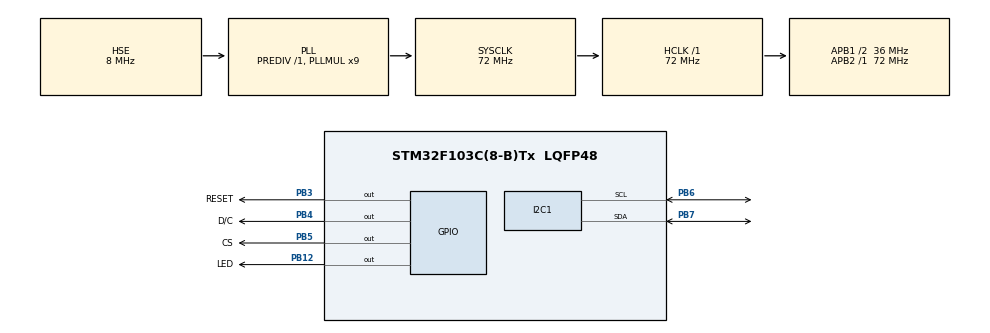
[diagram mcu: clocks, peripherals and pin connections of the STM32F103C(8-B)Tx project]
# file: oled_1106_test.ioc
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Mcu.Family=STM32F1
RCC.PLLSourceVirtual=RCC_PLLSOURCE_HSE
PD1-OSC_OUT.Mode=HSE-External-Oscillator
PD0-OSC_IN.Signal=RCC_OSC_IN
RCC.APB1CLKDivider=RCC_HCLK_DIV2
RCC.SYSCLKSource=RCC_SYSCLKSOURCE_PLLCLK
ProjectManager.StackSize=0x400
PD1-OSC_OUT.Signal=RCC_OSC_OUT
PA13.Signal=SYS_JTMS-SWDIO
ProjectManager.TargetToolchain=STM32CubeIDE
RCC.HCLKFreq_Value=72000000
RCC.APB2TimFreq_Value=72000000
PB6.Signal=I2C1_SCL
PB6.Mode=I2C
RCC.USBFreq_Value=72000000
RCC.AHBFreq_Value=72000000
PD0-OSC_IN.Mode=HSE-External-Oscillator
board=custom
RCC.PLLMUL=RCC_PLL_MUL9
PB12.GPIO_Label=LED
RCC.APB2Freq_Value=72000000
PB4.GPIO_Label=D/C
PA14.Mode=Serial_Wire
PB7.Signal=I2C1_SDA
PA13.Mode=Serial_Wire
Mcu.Name=STM32F103C(8-B)Tx
PB3.Signal=GPIO_Output
RCC.SYSCLKFreq_VALUE=72000000
Mcu.Package=LQFP48
PB5.Signal=GPIO_Output
PB7.Mode=I2C
PA14.Signal=SYS_JTCK-SWCLK
ProjectManager.HeapSize=0x200
NVIC.PriorityGroup=NVIC_PRIORITYGROUP_4
PB5.GPIO_Label=CS
RCC.APB1TimFreq_Value=72000000
RCC.APB1Freq_Value=36000000
PB12.Signal=GPIO_Output
PB4.Signal=GPIO_Output
PB3.GPIO_Label=RESET

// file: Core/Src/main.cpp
/* USER CODE BEGIN Header */
/**
  ******************************************************************************
  * @file           : main.c
  * @brief          : Main program body
  ******************************************************************************
  * @attention
  *
  * <h2><center>&copy; Copyright (c) 2021 STMicroelectronics.
  * All rights reserved.</center></h2>
  *
  * This software component is licensed by ST under BSD 3-Clause license,
  * the "License"; You may not use this file except in compliance with the
  * License. You may obtain a copy of the License at:
  *                        opensource.org/licenses/BSD-3-Clause
  *
  ******************************************************************************
  */
/* USER CODE END Header */
#include "main.h"
#include "i2c.h"
#include "gpio.h"

/* USER CODE BEGIN Includes */

#include "Adafruit_GFX.h"
#include "Adafruit_SSD1306.h"
#include "math.h"
#include "stdlib.h"
/* USER CODE END Includes */

/* USER CODE BEGIN PD */

#define OLED_RESET (0)

Adafruit_SSD1306 display(OLED_RESET);

#define NUMFLAKES 10
#define XPOS 0
#define YPOS 1
#define DELTAY 2

#define LOGO16_GLCD_HEIGHT 16
#define LOGO16_GLCD_WIDTH  16

static const unsigned char logo16_glcd_bmp[] =
{
0x00,0x00,0x00,0x20,0x00,0x60,0x00,0xE0,0x00,0xE0,0xEE,0xCC,0x7E,0xCE,0x7F,0xDE,
0x7F,0xFF,0x3F,0xFB,0x3B,0x33,0x11,0x27,0x00,0x0E,0x00,0x0E,0x00,0x0C,0x00,0x00
};

/* USER CODE END PD */

void SystemClock_Config(void);

int main(void)
{

    /* MCU Configuration--------------------------------------------------------*/

    /* Reset of all peripherals, Initializes the Flash interface and the Systick. */
    HAL_Init();

    /* Configure the system clock */
    SystemClock_Config();

    /* Initialize all configured peripherals */
    MX_GPIO_Init();
    MX_I2C1_Init();

    /* USER CODE BEGIN 2 */

//    // 1.3 inch
    display.sh1106_begin(SSD1306_SWITCHCAPVCC, 0x7A);
    HAL_Delay(3000);

    uint32_t mil = HAL_GetTick();
    while (1)
    {
/* USER CODE END WHILE */

/* USER CODE BEGIN 3 */
        if(HAL_GetTick() - mil > 100)
        {
            mil = HAL_GetTick();
            static uint32_t count = 0;
            if(++count > 10)
            {
                count = 0;
                HAL_GPIO_TogglePin(LED_GPIO_Port, LED_Pin);
            }
        }
    }
/* USER CODE END 3 */
}

void SystemClock_Config(void)
{
  RCC_OscInitTypeDef RCC_OscInitStruct = {0};
  RCC_ClkInitTypeDef RCC_ClkInitStruct = {0};

  /** Initializes the RCC Oscillators according to the specified parameters
  * in the RCC_OscInitTypeDef structure.
  */
  RCC_OscInitStruct.OscillatorType = RCC_OSCILLATORTYPE_HSE;
  RCC_OscInitStruct.HSEState = RCC_HSE_ON;
  RCC_OscInitStruct.HSEPredivValue = RCC_HSE_PREDIV_DIV1;
  RCC_OscInitStruct.HSIState = RCC_HSI_ON;
  RCC_OscInitStruct.PLL.PLLState = RCC_PLL_ON;
  RCC_OscInitStruct.PLL.PLLSource = RCC_PLLSOURCE_HSE;
  RCC_OscInitStruct.PLL.PLLMUL = RCC_PLL_MUL9;
  if (HAL_RCC_OscConfig(&RCC_OscInitStruct) != HAL_OK)
  {
    Error_Handler();
  }
  /** Initializes the CPU, AHB and APB buses clocks
  */
  RCC_ClkInitStruct.ClockType = RCC_CLOCKTYPE_HCLK|RCC_CLOCKTYPE_SYSCLK
                              |RCC_CLOCKTYPE_PCLK1|RCC_CLOCKTYPE_PCLK2;
  RCC_ClkInitStruct.SYSCLKSource = RCC_SYSCLKSOURCE_PLLCLK;
  RCC_ClkInitStruct.AHBCLKDivider = RCC_SYSCLK_DIV1;
  RCC_ClkInitStruct.APB1CLKDivider = RCC_HCLK_DIV2;
  RCC_ClkInitStruct.APB2CLKDivider = RCC_HCLK_DIV1;

  if (HAL_RCC_ClockConfig(&RCC_ClkInitStruct, FLASH_LATENCY_2) != HAL_OK)
  {
    Error_Handler();
  }
}

void Error_Handler(void)
{
  __disable_irq();
  while (1)
  {
  }
}

/************************ (C) COPYRIGHT STMicroelectronics *****END OF FILE****/
